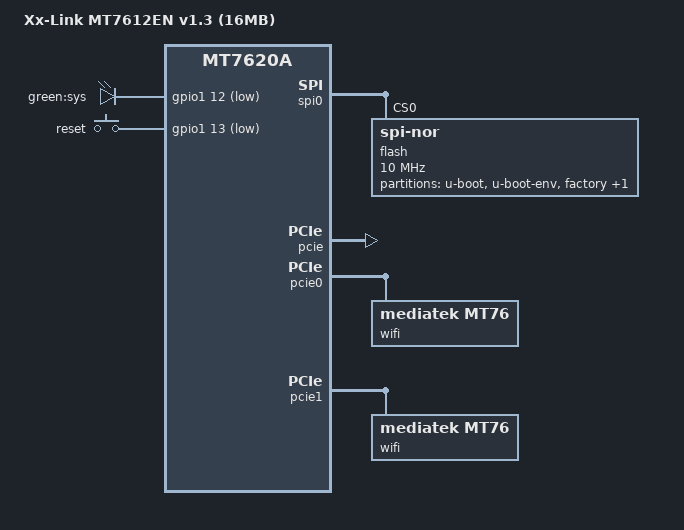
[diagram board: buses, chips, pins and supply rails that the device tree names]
#include "mt7620a.dtsi"
#include <dt-bindings/gpio/gpio.h>
#include <dt-bindings/input/input.h>

/ {
    compatible = "xxlink,7612en-v1.3", "ralink,mt7620a-soc";
    model = "Xx-Link MT7612EN v1.3 (16MB)";

    chosen {
        bootargs = "console=ttyS1,57600"; /* 匹配你的串口 */
    };

    leds {
        compatible = "gpio-leds";
        sys {
            label = "green:sys";
            gpios = <&gpio1 12 GPIO_ACTIVE_LOW>; /* 根据实际调整，不对也不影响启动 */
        };
    };

    keys {
        compatible = "gpio-keys";
        reset {
            label = "reset";
            gpios = <&gpio1 13 GPIO_ACTIVE_LOW>;
            linux,code = <KEY_RESTART>;
        };
    };
};

&spi0 {
    status = "okay";
    flash@0 {
        compatible = "jedec,spi-nor";
        reg = <0>;
        spi-max-frequency = <10000000>;
        partitions {
            compatible = "fixed-partitions";
            #address-cells = <1>;
            #size-cells = <1>;
            partition@0 {
                label = "u-boot";
                reg = <0x0 0x30000>;
                read-only;
            };
            partition@30000 {
                label = "u-boot-env";
                reg = <0x30000 0x10000>;
            };
            factory: partition@40000 {
                label = "factory";
                reg = <0x40000 0x10000>;
                read-only;
            };
            partition@50000 {
                compatible = "denx,uimage";
                label = "firmware";
                reg = <0x50000 0xFB0000>; /* 16MB 闪存专用 */
            };
        };
    };
};

&pcie {
    status = "okay";
};
&pcie0 {
    wifi@0,0 {
        compatible = "mediatek,mt76";
        mediatek,mtd-eeprom = <&factory 0x0>;
    };
};
&pcie1 {
    wifi@0,0 {
        compatible = "mediatek,mt76";
        mediatek,mtd-eeprom = <&factory 0x8000>; /* 5G WiFi 校准 */
    };
};
